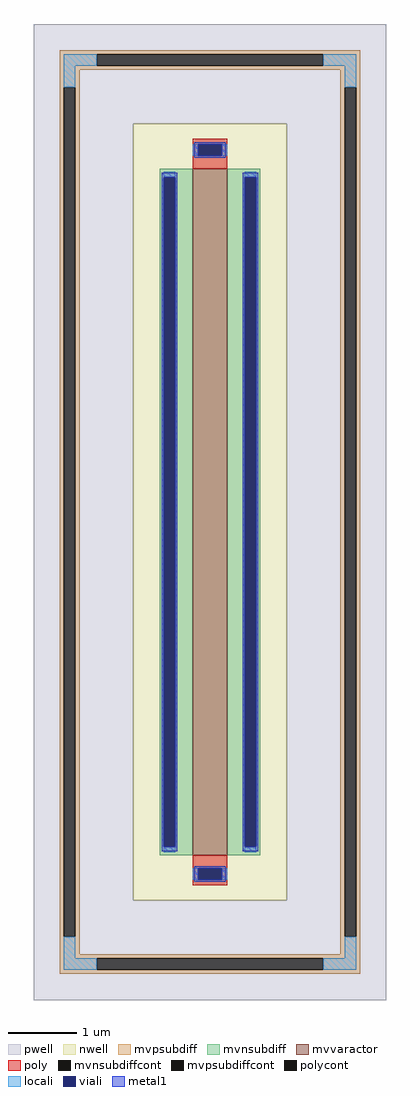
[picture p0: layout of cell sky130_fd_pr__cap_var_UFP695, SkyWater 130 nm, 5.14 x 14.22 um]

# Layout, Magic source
magic
tech sky130A
magscale 1 2
<< nwell >>
rect -223 -1131 223 1131
<< pwell >>
rect -514 1131 514 1422
rect -514 -1131 -223 1131
rect 223 -1131 514 1131
rect -514 -1422 514 -1131
<< mvvaractor >>
rect -50 -1000 50 1000
<< mvpsubdiff >>
rect -438 1334 438 1346
rect -438 1300 -330 1334
rect 330 1300 438 1334
rect -438 1288 438 1300
rect -438 1238 -380 1288
rect -438 -1238 -426 1238
rect -392 -1238 -380 1238
rect 380 1238 438 1288
rect -438 -1288 -380 -1238
rect 380 -1238 392 1238
rect 426 -1238 438 1238
rect 380 -1288 438 -1238
rect -438 -1300 438 -1288
rect -438 -1334 -330 -1300
rect 330 -1334 438 -1300
rect -438 -1346 438 -1334
<< mvnsubdiff >>
rect -147 976 -50 1000
rect -147 -976 -135 976
rect -101 -976 -50 976
rect -147 -1000 -50 -976
rect 50 976 147 1000
rect 50 -976 101 976
rect 135 -976 147 976
rect 50 -1000 147 -976
<< mvpsubdiffcont >>
rect -330 1300 330 1334
rect -426 -1238 -392 1238
rect 392 -1238 426 1238
rect -330 -1334 330 -1300
<< mvnsubdiffcont >>
rect -135 -976 -101 976
rect 101 -976 135 976
<< poly >>
rect -50 1072 50 1088
rect -50 1038 -34 1072
rect 34 1038 50 1072
rect -50 1000 50 1038
rect -50 -1038 50 -1000
rect -50 -1072 -34 -1038
rect 34 -1072 50 -1038
rect -50 -1088 50 -1072
<< polycont >>
rect -34 1038 34 1072
rect -34 -1072 34 -1038
<< locali >>
rect -426 1300 -330 1334
rect 330 1300 426 1334
rect -426 1238 -392 1300
rect 392 1238 426 1300
rect -50 1038 -34 1072
rect 34 1038 50 1072
rect -135 976 -101 992
rect -135 -992 -101 -976
rect 101 976 135 992
rect 101 -992 135 -976
rect -50 -1072 -34 -1038
rect 34 -1072 50 -1038
rect -426 -1300 -392 -1238
rect 392 -1300 426 -1238
rect -426 -1334 -330 -1300
rect 330 -1334 426 -1300
<< viali >>
rect -34 1038 34 1072
rect -135 -976 -101 976
rect 101 -976 135 976
rect -34 -1072 34 -1038
<< metal1 >>
rect -46 1072 46 1078
rect -46 1038 -34 1072
rect 34 1038 46 1072
rect -46 1032 46 1038
rect -141 976 -95 988
rect -141 -976 -135 976
rect -101 -976 -95 976
rect -141 -988 -95 -976
rect 95 976 141 988
rect 95 -976 101 976
rect 135 -976 141 976
rect 95 -988 141 -976
rect -46 -1038 46 -1032
rect -46 -1072 -34 -1038
rect 34 -1072 46 -1038
rect -46 -1078 46 -1072
<< properties >>
string FIXED_BBOX -409 -1317 409 1317
string gencell sky130_fd_pr__cap_var
string library sky130
string parameters w 10 l 0.50 m 1 nf 1 diffcov 100 polycov 100 guard 1 glc 1 grc 1 gtc 1 gbc 1 tbcov 100 rlcov 100 topc 1 botc 1 poverlap 0 doverlap 1 lmin 0.50 wmin 1.0 compatible {sky130_fd_pr__cap_var_lvt  sky130_fd_pr__cap_var_hvt sky130_fd_pr__cap_var} full_metal 1 viasrc 100 viadrn 100 viagate 100 viagb 0 viagr 0 viagl 0 viagt 0
<< end >>
